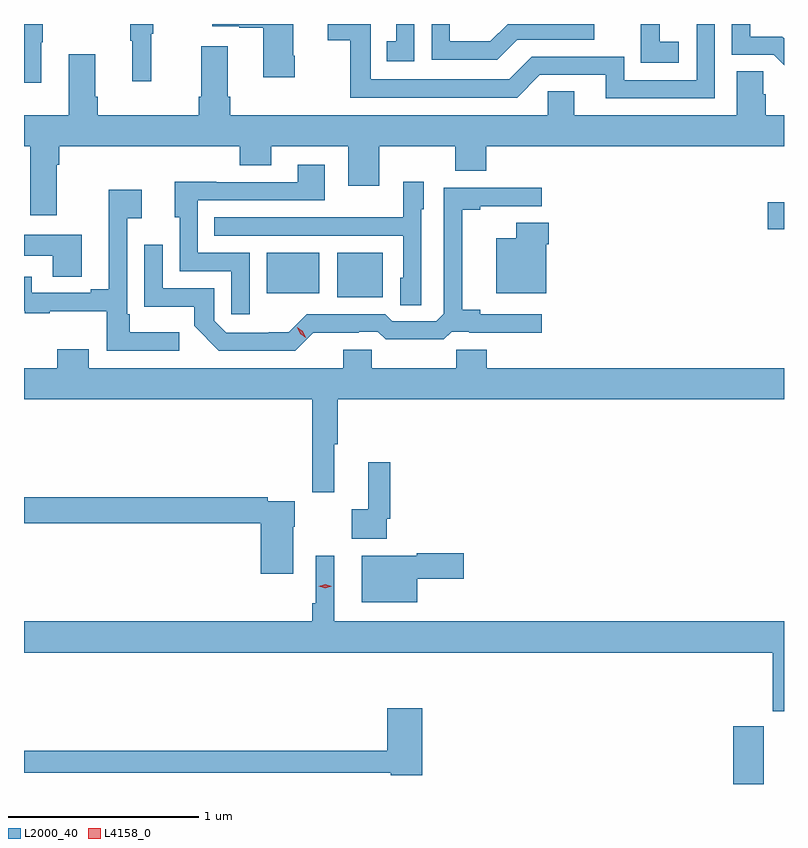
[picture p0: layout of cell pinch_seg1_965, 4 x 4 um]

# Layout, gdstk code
import gdstk
lib = gdstk.Library(unit=1e-6, precision=1e-09)
def R(c, l, rs):  # rectangles x0, y0, x1, y1
    for r in rs: c.add(gdstk.rectangle(r[:2], r[2:], *l))
def P(c, l, *ps):  # polygons
    for p in ps: c.add(gdstk.Polygon(p, *l))
L2000_40 = (2000, 40)
L4158_0 = (4158, 0)

pinch_seg1_965 = lib.new_cell('pinch_seg1_965')
R(pinch_seg1_965, L2000_40, [(324.995,579.012,325.155,579.316), (322.91,581.573,323.149,581.809), (322.538,581.594,322.816,581.809), (325.176,581.933,325.261,582.075)])
P(pinch_seg1_965, L2000_40, [(321.352,582.917),(321.36,582.917),(321.36,583.012),(321.261,583.012),(321.261,582.702),(321.352,582.702)],
  [(323.857,582.93),(324.261,582.93),(324.261,583.012),(323.806,583.012),(323.716,582.922),(323.502,582.922),(323.502,583.012),(323.406,583.012),(323.406,582.825),(323.752,582.825)],
  [(324.706,582.919),(324.608,582.919),(324.608,583.012),(324.508,583.012),(324.508,582.809),(324.706,582.809)],
  [(325.261,582.936),(325.252,582.945),(325.083,582.945),(325.083,583.012),(324.987,583.012),(324.987,582.849),(325.206,582.849),(325.261,582.794)],
  [(324.897,583.012),(324.801,583.012),(324.801,582.717),(324.42,582.717),(324.42,582.84),(323.934,582.84),(323.814,582.72),(323.085,582.72),(323.085,583.012),(322.859,583.012),(322.859,582.927),(322.977,582.927),(322.977,582.624),(323.856,582.624),(323.976,582.744),(324.323,582.744),(324.323,582.621),(324.897,582.621)],
  [(323.316,583.012),(323.219,583.012),(323.219,582.921),(323.17,582.921),(323.17,582.816),(323.316,582.816)],
  [(321.932,582.96),(321.94,582.96),(321.94,583.012),(321.819,583.012),(321.819,582.923),(321.83,582.923),(321.83,582.711),(321.932,582.711)],
  [(322.686,582.844),(322.678,582.844),(322.678,583.012),(322.251,583.012),(322.251,583.001),(322.394,583.001),(322.394,582.991),(322.52,582.991),(322.52,582.732),(322.686,582.732)],
  [(321.433,582.272),(321.446,582.272),(321.446,582.368),(322.397,582.368),(322.397,582.269),(322.561,582.269),(322.561,582.368),(322.967,582.368),(322.967,582.162),(323.131,582.162),(323.131,582.368),(323.531,582.368),(323.531,582.24),(323.695,582.24),(323.695,582.368),(325.261,582.368),(325.261,582.532),(325.166,582.532),(325.166,582.641),(325.152,582.641),(325.152,582.764),(325.013,582.764),(325.013,582.532),(324.157,582.532),(324.157,582.659),(324.018,582.659),(324.018,582.532),(322.346,582.532),(322.346,582.628),(322.333,582.628),(322.333,582.895),(322.193,582.895),(322.193,582.628),(322.181,582.628),(322.181,582.532),(321.65,582.532),(321.65,582.628),(321.637,582.628),(321.637,582.853),(321.497,582.853),(321.497,582.532),(321.261,582.532),(321.261,582.368),(321.293,582.368),(321.293,582.006),(321.433,582.006)],
  [(322.449,581.808),(322.176,581.808),(322.176,582.084),(322.843,582.084),(322.843,582.271),(322.703,582.271),(322.703,582.18),(322.273,582.18),(322.273,582.182),(322.055,582.182),(322.055,581.994),(322.08,581.994),(322.08,581.712),(322.353,581.712),(322.353,581.484),(322.449,581.484)],
  [(323.352,582.036),(323.365,582.036),(323.365,582.181),(323.256,582.181),(323.256,581.995),(322.939,581.995),(322.939,581.994),(322.261,581.994),(322.261,581.898),(323.256,581.898),(323.256,581.676),(323.24,581.676),(323.24,581.533),(323.352,581.533)],
  [(322.784,581.387),(323.024,581.387),(323.024,581.391),(323.124,581.391),(323.164,581.352),(323.471,581.352),(323.511,581.391),(323.605,581.391),(323.605,581.387),(323.986,581.387),(323.986,581.484),(323.662,581.484),(323.662,581.507),(323.567,581.507),(323.567,582.034),(323.662,582.034),(323.662,582.054),(323.986,582.054),(323.986,582.15),(323.469,582.15),(323.469,581.487),(323.43,581.448),(323.199,581.448),(323.163,581.484),(322.749,581.484),(322.655,581.39),(322.55,581.39),(322.55,581.388),(322.326,581.388),(322.263,581.451),(322.263,581.622),(321.99,581.622),(321.99,581.851),(321.894,581.851),(321.894,581.525),(322.156,581.525),(322.156,581.423),(322.286,581.292),(322.689,581.292)],
  [(322.078,581.389),(321.817,581.389),(321.817,581.485),(321.804,581.485),(321.804,581.99),(321.88,581.99),(321.88,582.139),(321.707,582.139),(321.707,581.617),(321.611,581.617),(321.611,581.598),(321.301,581.598),(321.301,581.683),(321.261,581.683),(321.261,581.502),(321.265,581.502),(321.265,581.49),(321.397,581.49),(321.397,581.501),(321.696,581.501),(321.696,581.292),(322.078,581.292)],
  [(324.01,581.852),(324.023,581.852),(324.023,581.965),(323.852,581.965),(323.852,581.884),(323.747,581.884),(323.747,581.594),(324.01,581.594)],
  [(321.565,581.902),(321.261,581.902),(321.261,581.792),(321.413,581.792),(321.413,581.683),(321.565,581.683)],
  [(322.895,580.8),(322.913,580.8),(322.913,581.036),(325.261,581.036),(325.261,581.2),(323.696,581.2),(323.696,581.298),(323.536,581.298),(323.536,581.2),(323.091,581.2),(323.091,581.298),(322.94,581.298),(322.94,581.2),(321.601,581.2),(321.601,581.299),(321.437,581.299),(321.437,581.2),(321.261,581.2),(321.261,581.036),(322.777,581.036),(322.777,580.548),(322.895,580.548)],
  [(323.169,580.408),(323.189,580.408),(323.189,580.705),(323.072,580.705),(323.072,580.457),(322.986,580.457),(322.986,580.304),(323.169,580.304)],
  [(322.678,580.367),(322.686,580.367),(322.686,580.5),(322.544,580.5),(322.544,580.52),(321.261,580.52),(321.261,580.384),(322.508,580.384),(322.508,580.119),(322.678,580.119)],
  [(323.332,580.091),(323.575,580.091),(323.575,580.226),(323.328,580.226),(323.328,580.213),(323.039,580.213),(323.039,579.968),(323.332,579.968)],
  [(325.261,579.868),(322.894,579.868),(322.894,580.213),(322.797,580.213),(322.797,579.964),(322.777,579.964),(322.777,579.868),(321.261,579.868),(321.261,579.704),(325.202,579.704),(325.202,579.395),(325.261,579.395)],
  [(323.357,579.412),(323.174,579.412),(323.174,579.188),(321.261,579.188),(321.261,579.072),(323.19,579.072),(323.19,579.059),(323.357,579.059)])
P(pinch_seg1_965, L4158_0, [(322.846,580.043),(322.811,580.054),(322.81,580.054),(322.811,580.054),(322.846,580.063),(322.881,580.053),(322.882,580.052),(322.881,580.052)],
  [(322.744,581.361),(322.714,581.382),(322.698,581.416),(322.698,581.416),(322.698,581.416),(322.729,581.395),(322.745,581.361),(322.745,581.361)])

lib.write_gds('pinch_seg1_965.gds')
